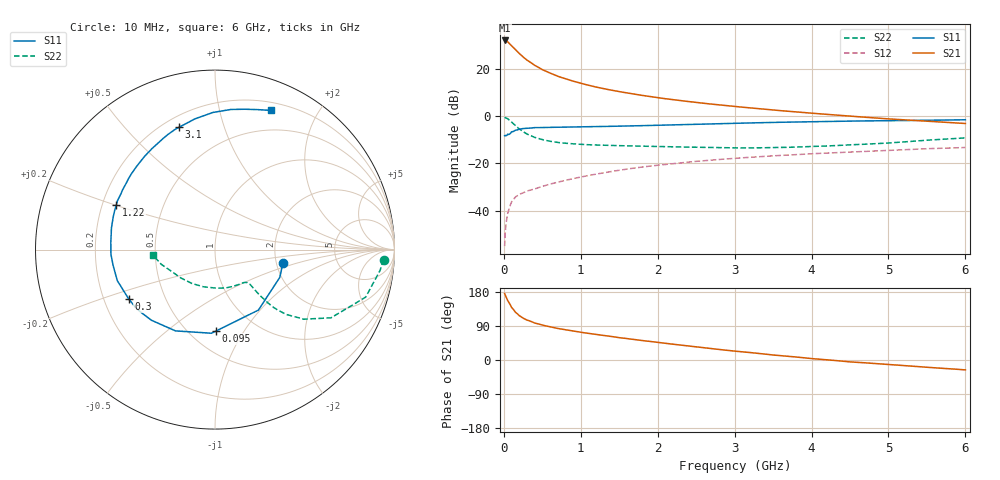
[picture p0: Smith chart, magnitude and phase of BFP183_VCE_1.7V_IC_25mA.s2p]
! Infineon Technologies  Discrete & RF Semiconductors
! BFP183
! VCE = 1.7 V,  IC =  25 mA
! Common Emitter S-Parameters:  Jan 2016
# GHz  S  MA  R  50
!  f  S11  S21  S12  S22
! GHz  MAG  ANG  MAG  ANG  MAG  ANG  MAG  ANG
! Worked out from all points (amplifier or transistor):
!   210 points, 10 MHz to 6 GHz, reference 50 ohm
!   highest |S21| = 31.9 dB at 10 MHz (marker M1)
!   |S21| within 3 dB of that: start of sweep to 124.7 MHz
!   unconditionally stable (mu >= 1): 602.5 MHz to 5.871 GHz
!   at 185 MHz: K = 0.49, MSG = 30.2 dB, |S12| = -33.4 dB
!   at 1.52 GHz: K = 1.23, MAG = 13.6 dB, |S12| = -22.8 dB
!   at 6 GHz: K = 0.98, MSG = 5.1 dB, |S12| = -13.3 dB
!   S11 on the Smith chart (normalised r, x): 10 MHz: 2.17, -0.39; 95 MHz: 0.67, -0.76; 300 MHz: 0.31, -0.24; 1.22 GHz: 0.26, +0.20; 3.1 GHz: 0.26, +0.72; 6 GHz: 0.28, +1.45
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0.01  0.3861 -11.5  39.44 175.3  0.0018 81.5  0.9408 -3.4
0.02  0.3927 -23.3  39.14 170.7  0.0039 78.5  0.9269 -7.2
0.05  0.4148 -54.3  37.01 156.9  0.0088 73.2  0.8804 -17.5
0.095  0.4531 -89.2  31.26 141.1  0.0147 60.6  0.7605 -29.0
0.1  0.4664 -92.4  30.8 139.0  0.0154 59.8  0.7494 -30.5
0.15  0.5035 -115.9  25.34 126.2  0.0196 53.0  0.6287 -38.1
0.2  0.5296 -132.0  21.01 117.1  0.0222 50.4  0.537 -42.3
0.24  0.5421 -140.5  18.32 111.9  0.0236 49.3  0.4829 -44.0
0.3  0.554 -150.4  15.22 105.5  0.0262 48.9  0.4188 -45.2
0.4  0.5711 -162.4  11.83 97.6  0.029 49.1  0.3557 -45.6
0.5  0.5745 -171.2  9.555 92.0  0.0328 50.4  0.3179 -45.3
0.6  0.5804 -177.4  8.091 87.3  0.0367 52.2  0.2938 -44.9
0.7  0.5817 177.1  6.92 83.3  0.0401 53.7  0.2777 -44.8
0.8  0.5838 172.3  6.122 79.7  0.044 54.6  0.2673 -45.0
1.02  0.5949 162.8  4.821 72.6  0.0524 55.7  0.2525 -46.4
1.22  0.603 155.8  4.032 67.0  0.0604 55.7  0.2446 -48.6
1.5  0.613 147.4  3.281 58.9  0.0718 54.9  0.2378 -52.9
2.02  0.6396 131.8  2.414 46.0  0.0927 51.4  0.2286 -63.7
3.1  0.7105 106.3  1.542 21.6  0.1318 42.0  0.2131 -94.6
4.1  0.7674 89.4  1.119 2.2  0.1632 32.7  0.2309 -128.0
5.1  0.8026 76.9  0.854 -13.3  0.1906 24.8  0.2776 -155.9
6  0.8365 67.9  0.698 -26.1  0.2174 16.0  0.3471 -174.8
